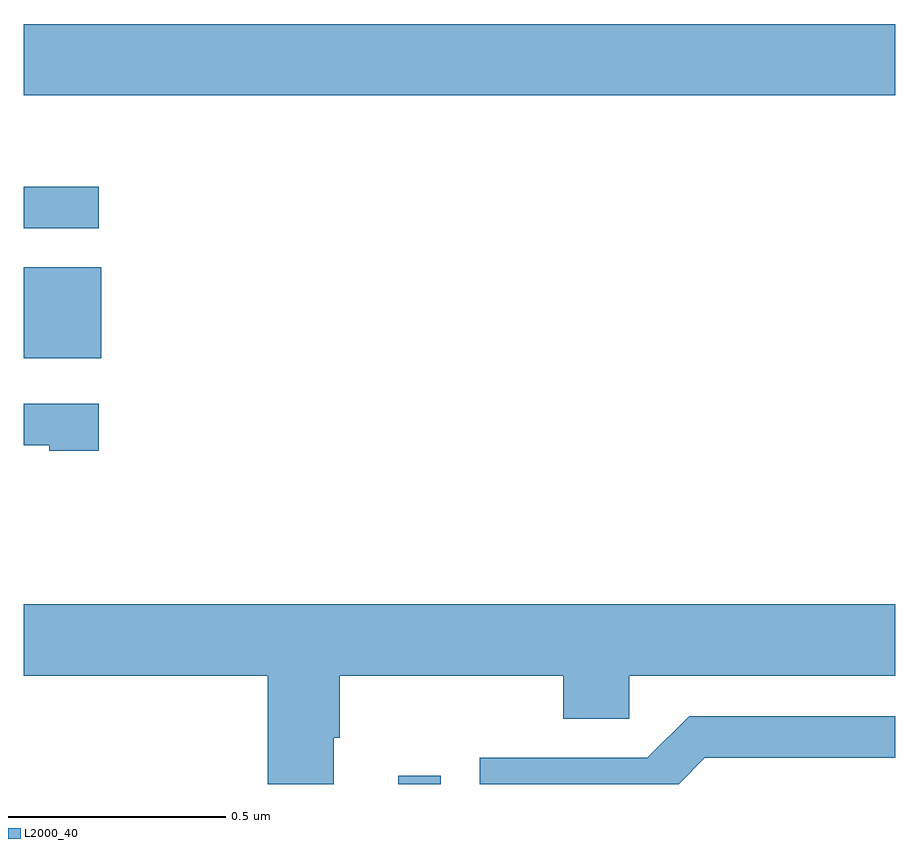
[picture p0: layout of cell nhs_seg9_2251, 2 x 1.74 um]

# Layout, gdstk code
import gdstk
lib = gdstk.Library(unit=1e-6, precision=1e-09)
def R(c, l, rs):  # rectangles x0, y0, x1, y1
    for r in rs: c.add(gdstk.rectangle(r[:2], r[2:], *l))
def P(c, l, *ps):  # polygons
    for p in ps: c.add(gdstk.Polygon(p, *l))
L2000_40 = (2000, 40)

nhs_seg9_2251 = lib.new_cell('nhs_seg9_2251')
R(nhs_seg9_2251, L2000_40, [(138.86,1201.5,138.957,1201.519), (138,1202.477,138.178,1202.686), (138,1202.775,138.172,1202.871), (138,1203.08,140,1203.244)])
P(nhs_seg9_2251, L2000_40, [(138.172,1202.373),(138,1202.373),(138,1202.277),(138.059,1202.277),(138.059,1202.265),(138.172,1202.265)],
  [(138.712,1201.606),(138.725,1201.606),(138.725,1201.748),(139.238,1201.748),(139.238,1201.65),(139.389,1201.65),(139.389,1201.748),(140,1201.748),(140,1201.912),(138,1201.912),(138,1201.748),(138.56,1201.748),(138.56,1201.5),(138.712,1201.5)],
  [(139.563,1201.56),(140,1201.56),(140,1201.656),(139.527,1201.656),(139.431,1201.56),(139.047,1201.56),(139.047,1201.5),(139.503,1201.5)])

lib.write_gds('nhs_seg9_2251.gds')
